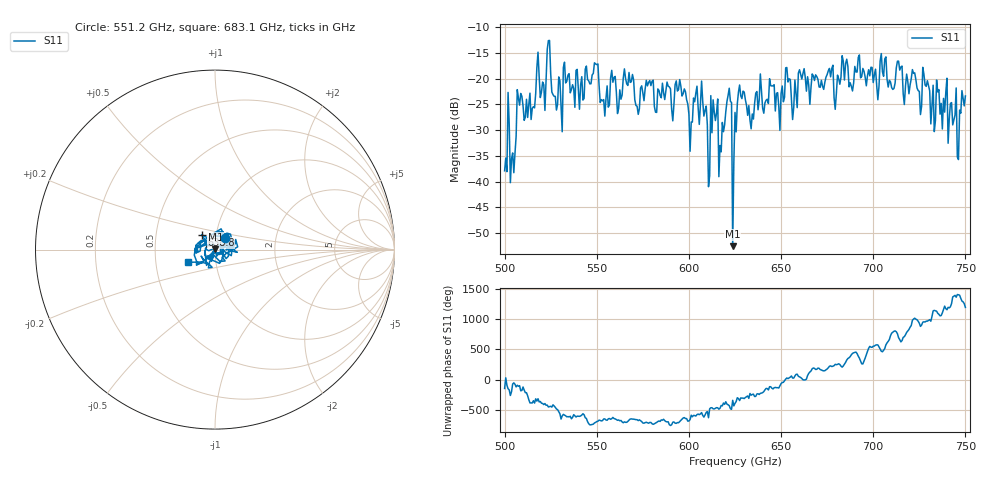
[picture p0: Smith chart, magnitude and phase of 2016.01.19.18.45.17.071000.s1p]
!Created with skrf (http://scikit-rf.org).
# GHz S RI R 50.0
!freq ReS11 ImS11
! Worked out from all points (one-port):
!   401 points, 500 GHz to 750 GHz, reference 50 ohm
!   lowest |S11| = -52.5 dB at 623.8 GHz (marker M1), VSWR 1.00, Z = 50.2 + j0.0694 ohm
!   |S11| at or under -10 dB: start of sweep to end of sweep
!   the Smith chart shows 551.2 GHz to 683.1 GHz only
!   S11 on the Smith chart (normalised r, x): 551.2 GHz: 1.11, +0.15; 638.8 GHz: 0.85, +0.14; 683.1 GHz: 0.73, -0.11
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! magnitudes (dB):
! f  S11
! 500 GHz  -37.9
! 501.2 GHz  -38.1
! 504.4 GHz  -34.4
! 508.1 GHz  -25.2
! 515.6 GHz  -25.4
! 523.8 GHz  -12.6
! 526.9 GHz  -23.4
! 531.2 GHz  -30.3
! 551.2 GHz  -21.3
! 562.5 GHz  -22.2
! 593.8 GHz  -22.4
! 600.6 GHz  -34.1
! 608.1 GHz  -27.3
! 611.2 GHz  -38.8
! 614.4 GHz  -28.1
! 617.5 GHz  -34.2
! 621.9 GHz  -21.9
! 623.8 GHz  -52.5
! 625 GHz  -26.6
! 628.1 GHz  -23.4
! 633.8 GHz  -29.7
! 638.8 GHz  -19.1
! 656.2 GHz  -27.9
! 683.1 GHz  -15.5
! 687.5 GHz  -20.8
! 718.8 GHz  -20.5
! 745 GHz  -21.8
! 750 GHz  -23.4
